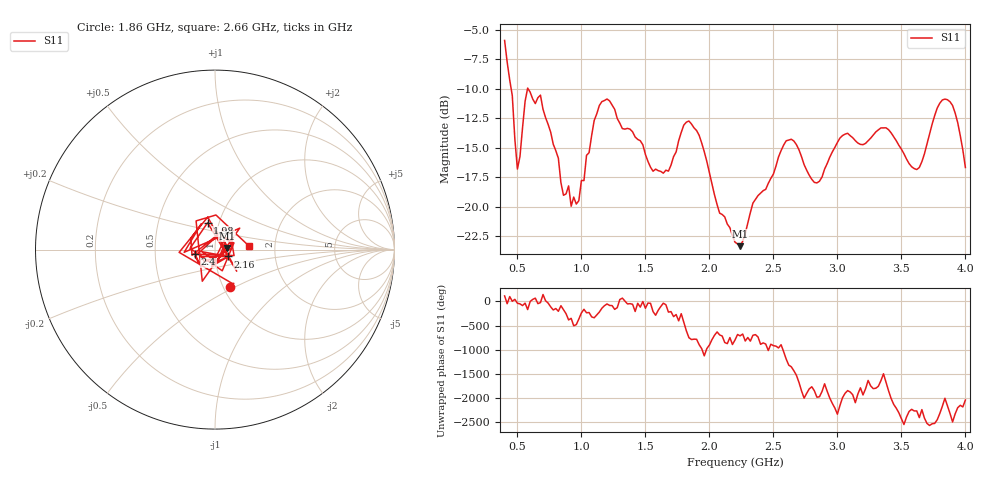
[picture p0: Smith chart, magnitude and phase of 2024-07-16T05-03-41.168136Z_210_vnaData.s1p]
!Created with skrf (http://scikit-rf.org).
# Hz S RI R 50.0
!freq ReS11 ImS11
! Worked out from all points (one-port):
!   181 points, 400 MHz to 4 GHz, reference 50 ohm
!   lowest |S11| = -23.4 dB at 2.24 GHz (marker M1), VSWR 1.15, Z = 57.2 + j1.04 ohm
!   |S11| at or under -10 dB: 451 MHz to 579.2 MHz (128.2 MHz wide, 24.9 % of centre); 582.5 MHz to end of sweep
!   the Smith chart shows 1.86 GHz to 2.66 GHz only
!   S11 on the Smith chart (normalised r, x): 1.86 GHz: 1.07, -0.47; 1.98 GHz: 0.88, +0.27; 2.16 GHz: 1.15, -0.09; 2.4 GHz: 0.80, -0.04; 2.66 GHz: 1.46, +0.06
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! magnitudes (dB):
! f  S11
! 400 MHz  -5.9
! 460 MHz  -10.6
! 500 MHz  -16.8
! 580 MHz  -10.0
! 680 MHz  -10.6
! 860 MHz  -19.0
! 980 MHz  -19.5
! 1.16 GHz  -11.1
! 1.3 GHz  -12.9
! 1.56 GHz  -17.0
! 1.68 GHz  -17.0
! 1.76 GHz  -14.4
! 1.86 GHz  -13.0
! 1.98 GHz  -16.2
! 2.08 GHz  -20.6
! 2.16 GHz  -21.8
! 2.2 GHz  -23.0
! 2.24 GHz  -23.4
! 2.4 GHz  -18.9
! 2.66 GHz  -14.4
! 2.84 GHz  -18.0
! 3.1 GHz  -14.0
! 3.38 GHz  -13.3
! 3.56 GHz  -16.4
! 3.64 GHz  -16.7
! 3.84 GHz  -10.9
! 3.92 GHz  -12.1
! 4 GHz  -16.7
